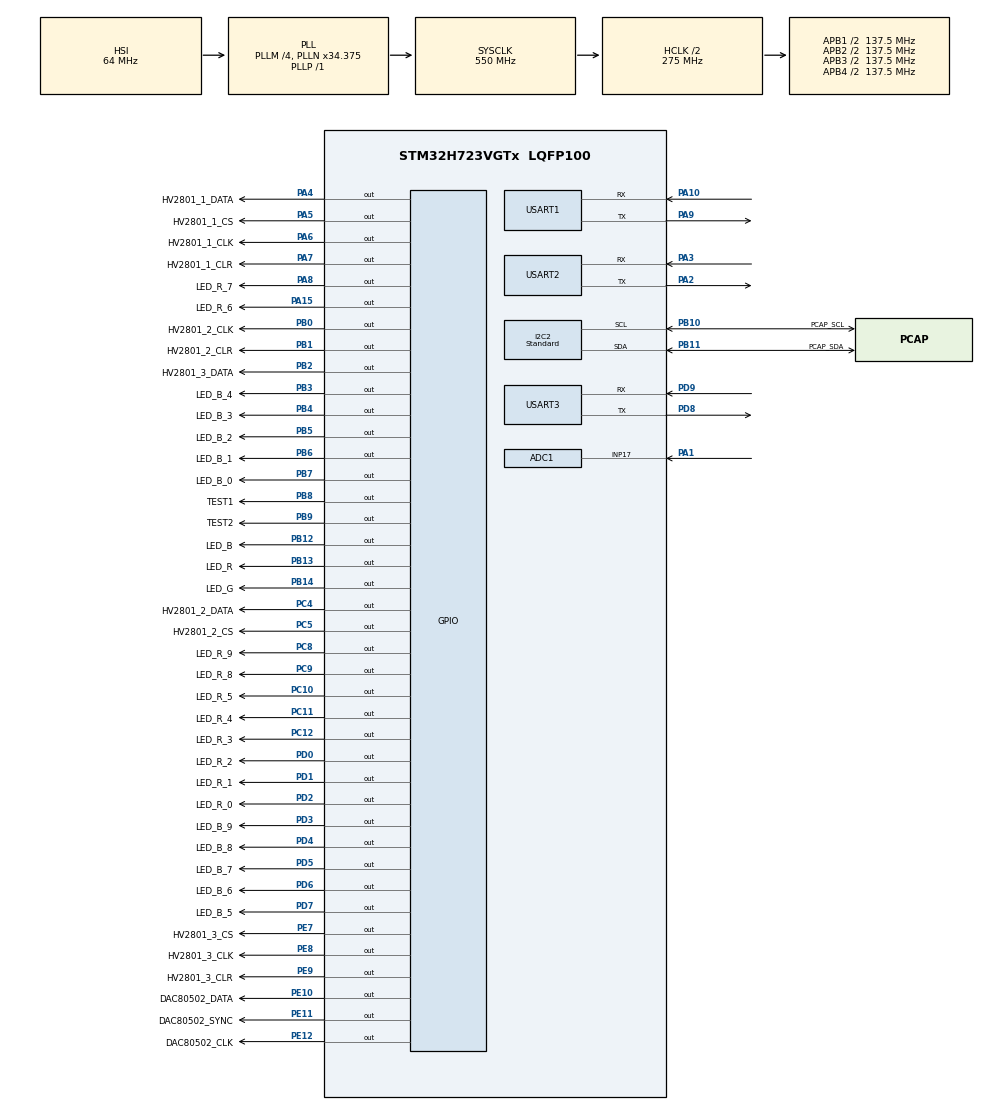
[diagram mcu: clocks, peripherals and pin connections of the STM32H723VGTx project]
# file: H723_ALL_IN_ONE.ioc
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ADC1.Channel-0\#ChannelRegularConversion=ADC_CHANNEL_17
ADC1.ContinuousConvMode=ENABLE
ADC1.ConversionDataManagement=ADC_CONVERSIONDATA_DMA_CIRCULAR
ADC1.NbrOfConversionFlag=1
ADC1.OffsetNumber-0\#ChannelRegularConversion=ADC_OFFSET_NONE
ADC1.OffsetSignedSaturation-0\#ChannelRegularConversion=DISABLE
ADC1.Rank-0\#ChannelRegularConversion=1
ADC1.SamplingTime-0\#ChannelRegularConversion=ADC_SAMPLETIME_64CYCLES_5
ADC1.master=1
CORTEX_M7.AccessPermission_S-Cortex_Memory_Protection_Unit_Region1_Settings_S=MPU_REGION_FULL_ACCESS
CORTEX_M7.BaseAddress_S-Cortex_Memory_Protection_Unit_Region1_Settings_S=0x30000000
CORTEX_M7.CPU_DCache=Enabled
CORTEX_M7.CPU_ICache=Enabled
CORTEX_M7.DisableExec_S-Cortex_Memory_Protection_Unit_Region1_Settings_S=MPU_INSTRUCTION_ACCESS_DISABLE
CORTEX_M7.Enable_S-Cortex_Memory_Protection_Unit_Region1_Settings_S=MPU_REGION_ENABLE
CORTEX_M7.IsBufferable_S-Cortex_Memory_Protection_Unit_Region1_Settings_S=MPU_ACCESS_BUFFERABLE
CORTEX_M7.IsShareable_S-Cortex_Memory_Protection_Unit_Region1_Settings_S=MPU_ACCESS_SHAREABLE
CORTEX_M7.Size_S-Cortex_Memory_Protection_Unit_Region1_Settings_S=MPU_REGION_SIZE_64KB
CORTEX_M7.default_mode_Activation=1
Dma.ADC1.4.Direction=DMA_PERIPH_TO_MEMORY
Dma.ADC1.4.EventEnable=DISABLE
Dma.ADC1.4.FIFOMode=DMA_FIFOMODE_DISABLE
Dma.ADC1.4.Instance=DMA1_Stream4
Dma.ADC1.4.MemDataAlignment=DMA_MDATAALIGN_HALFWORD
Dma.ADC1.4.MemInc=DMA_MINC_ENABLE
Dma.ADC1.4.Mode=DMA_CIRCULAR
Dma.ADC1.4.PeriphDataAlignment=DMA_PDATAALIGN_HALFWORD
Dma.ADC1.4.PeriphInc=DMA_PINC_DISABLE
Dma.ADC1.4.Polarity=HAL_DMAMUX_REQ_GEN_RISING
Dma.ADC1.4.Priority=DMA_PRIORITY_LOW
Dma.ADC1.4.RequestNumber=1
Dma.ADC1.4.SignalID=NONE
Dma.ADC1.4.SyncEnable=DISABLE
Dma.ADC1.4.SyncPolarity=HAL_DMAMUX_SYNC_NO_EVENT
Dma.ADC1.4.SyncRequestNumber=1
Dma.ADC1.4.SyncSignalID=NONE
Dma.I2C2_RX.3.Direction=DMA_PERIPH_TO_MEMORY
Dma.I2C2_RX.3.EventEnable=DISABLE
Dma.I2C2_RX.3.FIFOMode=DMA_FIFOMODE_DISABLE
Dma.I2C2_RX.3.Instance=DMA1_Stream3
Dma.I2C2_RX.3.MemDataAlignment=DMA_MDATAALIGN_BYTE
Dma.I2C2_RX.3.MemInc=DMA_MINC_ENABLE
Dma.I2C2_RX.3.Mode=DMA_NORMAL
Dma.I2C2_RX.3.PeriphDataAlignment=DMA_PDATAALIGN_BYTE
Dma.I2C2_RX.3.PeriphInc=DMA_PINC_DISABLE
Dma.I2C2_RX.3.Polarity=HAL_DMAMUX_REQ_GEN_RISING
Dma.I2C2_RX.3.Priority=DMA_PRIORITY_LOW
Dma.I2C2_RX.3.RequestNumber=1
Dma.I2C2_RX.3.SignalID=NONE
Dma.I2C2_RX.3.SyncEnable=DISABLE
Dma.I2C2_RX.3.SyncPolarity=HAL_DMAMUX_SYNC_NO_EVENT
Dma.I2C2_RX.3.SyncRequestNumber=1
Dma.I2C2_RX.3.SyncSignalID=NONE
Dma.I2C2_TX.2.Direction=DMA_MEMORY_TO_PERIPH
Dma.I2C2_TX.2.EventEnable=DISABLE
Dma.I2C2_TX.2.FIFOMode=DMA_FIFOMODE_DISABLE
Dma.I2C2_TX.2.Instance=DMA1_Stream2
Dma.I2C2_TX.2.MemDataAlignment=DMA_MDATAALIGN_BYTE
Dma.I2C2_TX.2.MemInc=DMA_MINC_ENABLE
Dma.I2C2_TX.2.Mode=DMA_NORMAL
Dma.I2C2_TX.2.PeriphDataAlignment=DMA_PDATAALIGN_BYTE
Dma.I2C2_TX.2.PeriphInc=DMA_PINC_DISABLE
Dma.I2C2_TX.2.Polarity=HAL_DMAMUX_REQ_GEN_RISING
Dma.I2C2_TX.2.Priority=DMA_PRIORITY_LOW
Dma.I2C2_TX.2.RequestNumber=1
Dma.I2C2_TX.2.SignalID=NONE
Dma.I2C2_TX.2.SyncEnable=DISABLE
Dma.I2C2_TX.2.SyncPolarity=HAL_DMAMUX_SYNC_NO_EVENT
Dma.I2C2_TX.2.SyncRequestNumber=1
Dma.I2C2_TX.2.SyncSignalID=NONE
Dma.Request0=USART1_RX
Dma.Request1=USART1_TX
Dma.Request2=I2C2_TX
Dma.Request3=I2C2_RX
Dma.Request4=ADC1
Dma.Request5=USART3_RX
Dma.Request6=USART3_TX
Dma.USART1_RX.0.Direction=DMA_PERIPH_TO_MEMORY
Dma.USART1_RX.0.EventEnable=DISABLE
Dma.USART1_RX.0.FIFOMode=DMA_FIFOMODE_DISABLE
Dma.USART1_RX.0.Instance=DMA1_Stream0
Dma.USART1_RX.0.MemDataAlignment=DMA_MDATAALIGN_BYTE
Dma.USART1_RX.0.MemInc=DMA_MINC_ENABLE
Dma.USART1_RX.0.Mode=DMA_NORMAL
Dma.USART1_RX.0.PeriphDataAlignment=DMA_PDATAALIGN_BYTE
Dma.USART1_RX.0.PeriphInc=DMA_PINC_DISABLE
Dma.USART1_RX.0.Polarity=HAL_DMAMUX_REQ_GEN_RISING
Dma.USART1_RX.0.Priority=DMA_PRIORITY_LOW
Dma.USART1_RX.0.RequestNumber=1
Dma.USART1_RX.0.SignalID=NONE
Dma.USART1_RX.0.SyncEnable=DISABLE
Dma.USART1_RX.0.SyncPolarity=HAL_DMAMUX_SYNC_NO_EVENT
Dma.USART1_RX.0.SyncRequestNumber=1
Dma.USART1_RX.0.SyncSignalID=NONE
Dma.USART1_TX.1.Direction=DMA_MEMORY_TO_PERIPH
Dma.USART1_TX.1.EventEnable=DISABLE
Dma.USART1_TX.1.FIFOMode=DMA_FIFOMODE_DISABLE
Dma.USART1_TX.1.Instance=DMA1_Stream1
Dma.USART1_TX.1.MemDataAlignment=DMA_MDATAALIGN_BYTE
Dma.USART1_TX.1.MemInc=DMA_MINC_ENABLE
Dma.USART1_TX.1.Mode=DMA_NORMAL
Dma.USART1_TX.1.PeriphDataAlignment=DMA_PDATAALIGN_BYTE
Dma.USART1_TX.1.PeriphInc=DMA_PINC_DISABLE
Dma.USART1_TX.1.Polarity=HAL_DMAMUX_REQ_GEN_RISING
Dma.USART1_TX.1.Priority=DMA_PRIORITY_LOW
Dma.USART1_TX.1.RequestNumber=1
Dma.USART1_TX.1.SignalID=NONE
Dma.USART1_TX.1.SyncEnable=DISABLE
Dma.USART1_TX.1.SyncPolarity=HAL_DMAMUX_SYNC_NO_EVENT
Dma.USART1_TX.1.SyncRequestNumber=1
Dma.USART1_TX.1.SyncSignalID=NONE
Dma.USART3_RX.5.Direction=DMA_PERIPH_TO_MEMORY
Dma.USART3_RX.5.EventEnable=DISABLE
Dma.USART3_RX.5.FIFOMode=DMA_FIFOMODE_DISABLE
Dma.USART3_RX.5.Instance=DMA1_Stream5
Dma.USART3_RX.5.MemDataAlignment=DMA_MDATAALIGN_BYTE
Dma.USART3_RX.5.MemInc=DMA_MINC_ENABLE
Dma.USART3_RX.5.Mode=DMA_NORMAL
Dma.USART3_RX.5.PeriphDataAlignment=DMA_PDATAALIGN_BYTE
Dma.USART3_RX.5.PeriphInc=DMA_PINC_DISABLE
Dma.USART3_RX.5.Polarity=HAL_DMAMUX_REQ_GEN_RISING
Dma.USART3_RX.5.Priority=DMA_PRIORITY_HIGH
Dma.USART3_RX.5.RequestNumber=1
Dma.USART3_RX.5.SignalID=NONE
Dma.USART3_RX.5.SyncEnable=DISABLE
Dma.USART3_RX.5.SyncPolarity=HAL_DMAMUX_SYNC_NO_EVENT
Dma.USART3_RX.5.SyncRequestNumber=1
Dma.USART3_RX.5.SyncSignalID=NONE
Dma.USART3_TX.6.Direction=DMA_MEMORY_TO_PERIPH
Dma.USART3_TX.6.EventEnable=DISABLE
Dma.USART3_TX.6.FIFOMode=DMA_FIFOMODE_DISABLE
Dma.USART3_TX.6.Instance=DMA1_Stream6
Dma.USART3_TX.6.MemDataAlignment=DMA_MDATAALIGN_BYTE
Dma.USART3_TX.6.MemInc=DMA_MINC_ENABLE
Dma.USART3_TX.6.Mode=DMA_NORMAL
Dma.USART3_TX.6.PeriphDataAlignment=DMA_PDATAALIGN_BYTE
Dma.USART3_TX.6.PeriphInc=DMA_PINC_DISABLE
Dma.USART3_TX.6.Polarity=HAL_DMAMUX_REQ_GEN_RISING
Dma.USART3_TX.6.Priority=DMA_PRIORITY_LOW
Dma.USART3_TX.6.RequestNumber=1
Dma.USART3_TX.6.SignalID=NONE
Dma.USART3_TX.6.SyncEnable=DISABLE
Dma.USART3_TX.6.SyncPolarity=HAL_DMAMUX_SYNC_NO_EVENT
Dma.USART3_TX.6.SyncRequestNumber=1
Dma.USART3_TX.6.SyncSignalID=NONE
I2C2.I2C_Speed_Mode=I2C_Standard
I2C2.Timing=0x60404E72
Mcu.Family=STM32H7
Mcu.Name=STM32H723VGTx
Mcu.Package=LQFP100
NVIC.DMA1_Stream0_IRQn=true\:0\:0\:false\:false\:true\:false\:true\:true
NVIC.DMA1_Stream1_IRQn=true\:0\:0\:false\:false\:true\:false\:true\:true
NVIC.DMA1_Stream2_IRQn=true\:0\:0\:false\:false\:true\:false\:true\:true
NVIC.DMA1_Stream3_IRQn=true\:0\:0\:false\:false\:true\:false\:true\:true
NVIC.DMA1_Stream4_IRQn=true\:0\:0\:false\:false\:true\:false\:true\:true
NVIC.DMA1_Stream5_IRQn=true\:0\:0\:false\:false\:true\:false\:true\:true
NVIC.DMA1_Stream6_IRQn=true\:0\:0\:false\:false\:true\:false\:true\:true
NVIC.I2C2_ER_IRQn=true\:0\:0\:false\:false\:true\:true\:true\:true
NVIC.I2C2_EV_IRQn=true\:0\:0\:false\:false\:true\:true\:true\:true
NVIC.PriorityGroup=NVIC_PRIORITYGROUP_4
NVIC.TIM7_IRQn=true\:0\:0\:false\:false\:true\:true\:true\:true
NVIC.USART1_IRQn=true\:0\:0\:false\:false\:true\:false\:true\:true
NVIC.USART3_IRQn=true\:0\:0\:false\:false\:true\:true\:true\:true
PA1.Mode=IN17-Single-Ended
PA1.Signal=ADC1_INP17
PA10.Mode=Asynchronous
PA10.Signal=USART1_RX
PA13(JTMS/SWDIO).Mode=Serial_Wire
PA13(JTMS/SWDIO).Signal=DEBUG_JTMS-SWDIO
PA14(JTCK/SWCLK).Mode=Serial_Wire
PA14(JTCK/SWCLK).Signal=DEBUG_JTCK-SWCLK
PA15(JTDI).GPIO_Label=LED_R_6
PA15(JTDI).GPIO_ModeDefaultOutputPP=GPIO_MODE_OUTPUT_PP
PA15(JTDI).GPIO_PuPd=GPIO_NOPULL
PA15(JTDI).GPIO_Speed=GPIO_SPEED_FREQ_LOW
PA15(JTDI).PinState=GPIO_PIN_SET
PA15(JTDI).Signal=GPIO_Output
PA2.Mode=Asynchronous
PA2.Signal=USART2_TX
PA3.Mode=Asynchronous
PA3.Signal=USART2_RX
PA4.GPIO_Label=HV2801_1_DATA
PA4.GPIO_ModeDefaultOutputPP=GPIO_MODE_OUTPUT_PP
PA4.GPIO_PuPd=GPIO_NOPULL
PA4.GPIO_Speed=GPIO_SPEED_FREQ_VERY_HIGH
PA4.PinState=GPIO_PIN_RESET
PA4.Signal=GPIO_Output
PA5.GPIO_Label=HV2801_1_CS
PA5.GPIO_ModeDefaultOutputPP=GPIO_MODE_OUTPUT_PP
PA5.GPIO_PuPd=GPIO_NOPULL
PA5.GPIO_Speed=GPIO_SPEED_FREQ_VERY_HIGH
PA5.PinState=GPIO_PIN_SET
PA5.Signal=GPIO_Output
PA6.GPIO_Label=HV2801_1_CLK
PA6.GPIO_ModeDefaultOutputPP=GPIO_MODE_OUTPUT_PP
PA6.GPIO_PuPd=GPIO_NOPULL
PA6.GPIO_Speed=GPIO_SPEED_FREQ_VERY_HIGH
PA6.PinState=GPIO_PIN_RESET
PA6.Signal=GPIO_Output
PA7.GPIO_Label=HV2801_1_CLR
PA7.GPIO_ModeDefaultOutputPP=GPIO_MODE_OUTPUT_PP
PA7.GPIO_PuPd=GPIO_NOPULL
PA7.GPIO_Speed=GPIO_SPEED_FREQ_VERY_HIGH
PA7.PinState=GPIO_PIN_SET
PA7.Signal=GPIO_Output
PA8.GPIO_Label=LED_R_7
PA8.GPIO_ModeDefaultOutputPP=GPIO_MODE_OUTPUT_PP
PA8.GPIO_PuPd=GPIO_NOPULL
PA8.GPIO_Speed=GPIO_SPEED_FREQ_LOW
PA8.PinState=GPIO_PIN_SET
PA8.Signal=GPIO_Output
PA9.Mode=Asynchronous
PA9.Signal=USART1_TX
PB0.GPIO_Label=HV2801_2_CLK
PB0.GPIO_ModeDefaultOutputPP=GPIO_MODE_OUTPUT_PP
PB0.GPIO_PuPd=GPIO_NOPULL
PB0.GPIO_Speed=GPIO_SPEED_FREQ_VERY_HIGH
PB0.PinState=GPIO_PIN_RESET
PB0.Signal=GPIO_Output
PB1.GPIO_Label=HV2801_2_CLR
PB1.GPIO_ModeDefaultOutputPP=GPIO_MODE_OUTPUT_PP
PB1.GPIO_PuPd=GPIO_NOPULL
PB1.GPIO_Speed=GPIO_SPEED_FREQ_VERY_HIGH
PB1.PinState=GPIO_PIN_SET
PB1.Signal=GPIO_Output
PB10.GPIO_Label=PCAP_SCL
PB10.GPIO_Mode=GPIO_MODE_AF_OD
PB10.GPIO_Pu=GPIO_NOPULL
PB10.GPIO_Speed=GPIO_SPEED_FREQ_VERY_HIGH
PB10.Mode=I2C
PB10.Signal=I2C2_SCL
PB11.GPIO_Label=PCAP_SDA
PB11.GPIO_Mode=GPIO_MODE_AF_OD
PB11.GPIO_Pu=GPIO_NOPULL
PB11.GPIO_Speed=GPIO_SPEED_FREQ_VERY_HIGH
PB11.Mode=I2C
PB11.Signal=I2C2_SDA
PB12.GPIO_Label=LED_B
PB12.GPIO_ModeDefaultOutputPP=GPIO_MODE_OUTPUT_PP
PB12.GPIO_PuPd=GPIO_NOPULL
PB12.GPIO_Speed=GPIO_SPEED_FREQ_LOW
PB12.PinState=GPIO_PIN_SET
PB12.Signal=GPIO_Output
PB13.GPIO_Label=LED_R
PB13.GPIO_ModeDefaultOutputPP=GPIO_MODE_OUTPUT_PP
PB13.GPIO_PuPd=GPIO_NOPULL
PB13.GPIO_Speed=GPIO_SPEED_FREQ_LOW
PB13.PinState=GPIO_PIN_SET
PB13.Signal=GPIO_Output
PB14.GPIO_Label=LED_G
PB14.GPIO_ModeDefaultOutputPP=GPIO_MODE_OUTPUT_PP
PB14.GPIO_PuPd=GPIO_NOPULL
PB14.GPIO_Speed=GPIO_SPEED_FREQ_LOW
PB14.PinState=GPIO_PIN_SET
PB14.Signal=GPIO_Output
PB2.GPIO_Label=HV2801_3_DATA
PB2.GPIO_ModeDefaultOutputPP=GPIO_MODE_OUTPUT_PP
PB2.GPIO_PuPd=GPIO_NOPULL
PB2.GPIO_Speed=GPIO_SPEED_FREQ_VERY_HIGH
PB2.PinState=GPIO_PIN_RESET
PB2.Signal=GPIO_Output
PB3(JTDO/TRACESWO).GPIO_Label=LED_B_4
PB3(JTDO/TRACESWO).GPIO_ModeDefaultOutputPP=GPIO_MODE_OUTPUT_PP
PB3(JTDO/TRACESWO).GPIO_PuPd=GPIO_NOPULL
PB3(JTDO/TRACESWO).GPIO_Speed=GPIO_SPEED_FREQ_LOW
PB3(JTDO/TRACESWO).PinState=GPIO_PIN_SET
PB3(JTDO/TRACESWO).Signal=GPIO_Output
PB4(NJTRST).GPIO_Label=LED_B_3
PB4(NJTRST).GPIO_ModeDefaultOutputPP=GPIO_MODE_OUTPUT_PP
PB4(NJTRST).GPIO_PuPd=GPIO_NOPULL
PB4(NJTRST).GPIO_Speed=GPIO_SPEED_FREQ_LOW
PB4(NJTRST).PinState=GPIO_PIN_SET
PB4(NJTRST).Signal=GPIO_Output
PB5.GPIO_Label=LED_B_2
PB5.GPIO_ModeDefaultOutputPP=GPIO_MODE_OUTPUT_PP
PB5.GPIO_PuPd=GPIO_NOPULL
PB5.GPIO_Speed=GPIO_SPEED_FREQ_LOW
PB5.PinState=GPIO_PIN_SET
PB5.Signal=GPIO_Output
PB6.GPIO_Label=LED_B_1
PB6.GPIO_ModeDefaultOutputPP=GPIO_MODE_OUTPUT_PP
PB6.GPIO_PuPd=GPIO_NOPULL
PB6.GPIO_Speed=GPIO_SPEED_FREQ_LOW
PB6.PinState=GPIO_PIN_SET
PB6.Signal=GPIO_Output
PB7.GPIO_Label=LED_B_0
PB7.GPIO_ModeDefaultOutputPP=GPIO_MODE_OUTPUT_PP
PB7.GPIO_PuPd=GPIO_NOPULL
PB7.GPIO_Speed=GPIO_SPEED_FREQ_LOW
PB7.PinState=GPIO_PIN_SET
PB7.Signal=GPIO_Output
PB8.GPIO_Label=TEST1
PB8.Signal=GPIO_Output
PB9.GPIO_Label=TEST2
PB9.Signal=GPIO_Output
PC10.GPIO_Label=LED_R_5
PC10.GPIO_ModeDefaultOutputPP=GPIO_MODE_OUTPUT_PP
PC10.GPIO_PuPd=GPIO_NOPULL
PC10.GPIO_Speed=GPIO_SPEED_FREQ_LOW
PC10.PinState=GPIO_PIN_SET
PC10.Signal=GPIO_Output
PC11.GPIO_Label=LED_R_4
PC11.GPIO_ModeDefaultOutputPP=GPIO_MODE_OUTPUT_PP
PC11.GPIO_PuPd=GPIO_NOPULL
PC11.GPIO_Speed=GPIO_SPEED_FREQ_LOW
PC11.PinState=GPIO_PIN_SET
PC11.Signal=GPIO_Output
PC12.GPIO_Label=LED_R_3
PC12.GPIO_ModeDefaultOutputPP=GPIO_MODE_OUTPUT_PP
PC12.GPIO_PuPd=GPIO_NOPULL
PC12.GPIO_Speed=GPIO_SPEED_FREQ_LOW
PC12.PinState=GPIO_PIN_SET
PC12.Signal=GPIO_Output
PC4.GPIO_Label=HV2801_2_DATA
PC4.GPIO_ModeDefaultOutputPP=GPIO_MODE_OUTPUT_PP
PC4.GPIO_PuPd=GPIO_NOPULL
PC4.GPIO_Speed=GPIO_SPEED_FREQ_VERY_HIGH
PC4.PinState=GPIO_PIN_RESET
PC4.Signal=GPIO_Output
PC5.GPIO_Label=HV2801_2_CS
PC5.GPIO_ModeDefaultOutputPP=GPIO_MODE_OUTPUT_PP
PC5.GPIO_PuPd=GPIO_NOPULL
PC5.GPIO_Speed=GPIO_SPEED_FREQ_VERY_HIGH
PC5.PinState=GPIO_PIN_SET
PC5.Signal=GPIO_Output
PC8.GPIO_Label=LED_R_9
PC8.GPIO_ModeDefaultOutputPP=GPIO_MODE_OUTPUT_PP
PC8.GPIO_PuPd=GPIO_NOPULL
PC8.GPIO_Speed=GPIO_SPEED_FREQ_LOW
PC8.PinState=GPIO_PIN_SET
PC8.Signal=GPIO_Output
PC9.GPIO_Label=LED_R_8
PC9.GPIO_ModeDefaultOutputPP=GPIO_MODE_OUTPUT_PP
PC9.GPIO_PuPd=GPIO_NOPULL
PC9.GPIO_Speed=GPIO_SPEED_FREQ_LOW
PC9.PinState=GPIO_PIN_SET
PC9.Signal=GPIO_Output
PD0.GPIO_Label=LED_R_2
PD0.GPIO_ModeDefaultOutputPP=GPIO_MODE_OUTPUT_PP
PD0.GPIO_PuPd=GPIO_NOPULL
PD0.GPIO_Speed=GPIO_SPEED_FREQ_LOW
PD0.PinState=GPIO_PIN_SET
PD0.Signal=GPIO_Output
PD1.GPIO_Label=LED_R_1
PD1.GPIO_ModeDefaultOutputPP=GPIO_MODE_OUTPUT_PP
PD1.GPIO_PuPd=GPIO_NOPULL
PD1.GPIO_Speed=GPIO_SPEED_FREQ_LOW
PD1.PinState=GPIO_PIN_SET
PD1.Signal=GPIO_Output
PD2.GPIO_Label=LED_R_0
PD2.GPIO_ModeDefaultOutputPP=GPIO_MODE_OUTPUT_PP
PD2.GPIO_PuPd=GPIO_NOPULL
PD2.GPIO_Speed=GPIO_SPEED_FREQ_LOW
PD2.PinState=GPIO_PIN_SET
PD2.Signal=GPIO_Output
PD3.GPIO_Label=LED_B_9
PD3.GPIO_ModeDefaultOutputPP=GPIO_MODE_OUTPUT_PP
PD3.GPIO_PuPd=GPIO_NOPULL
PD3.GPIO_Speed=GPIO_SPEED_FREQ_LOW
PD3.PinState=GPIO_PIN_SET
PD3.Signal=GPIO_Output
PD4.GPIO_Label=LED_B_8
PD4.GPIO_ModeDefaultOutputPP=GPIO_MODE_OUTPUT_PP
PD4.GPIO_PuPd=GPIO_NOPULL
PD4.GPIO_Speed=GPIO_SPEED_FREQ_LOW
PD4.PinState=GPIO_PIN_SET
PD4.Signal=GPIO_Output
PD5.GPIO_Label=LED_B_7
PD5.GPIO_ModeDefaultOutputPP=GPIO_MODE_OUTPUT_PP
PD5.GPIO_PuPd=GPIO_NOPULL
PD5.GPIO_Speed=GPIO_SPEED_FREQ_LOW
PD5.PinState=GPIO_PIN_SET
PD5.Signal=GPIO_Output
PD6.GPIO_Label=LED_B_6
PD6.GPIO_ModeDefaultOutputPP=GPIO_MODE_OUTPUT_PP
PD6.GPIO_PuPd=GPIO_NOPULL
PD6.GPIO_Speed=GPIO_SPEED_FREQ_LOW
PD6.PinState=GPIO_PIN_SET
PD6.Signal=GPIO_Output
PD7.GPIO_Label=LED_B_5
PD7.GPIO_ModeDefaultOutputPP=GPIO_MODE_OUTPUT_PP
PD7.GPIO_PuPd=GPIO_NOPULL
PD7.GPIO_Speed=GPIO_SPEED_FREQ_LOW
PD7.PinState=GPIO_PIN_SET
PD7.Signal=GPIO_Output
PD8.Mode=Asynchronous
PD8.Signal=USART3_TX
PD9.Mode=Asynchronous
PD9.Signal=USART3_RX
PE10.GPIO_Label=DAC80502_DATA
PE10.GPIO_ModeDefaultOutputPP=GPIO_MODE_OUTPUT_PP
PE10.GPIO_PuPd=GPIO_NOPULL
PE10.GPIO_Speed=GPIO_SPEED_FREQ_VERY_HIGH
PE10.PinState=GPIO_PIN_SET
PE10.Signal=GPIO_Output
PE11.GPIO_Label=DAC80502_SYNC
PE11.GPIO_ModeDefaultOutputPP=GPIO_MODE_OUTPUT_PP
PE11.GPIO_PuPd=GPIO_NOPULL
PE11.GPIO_Speed=GPIO_SPEED_FREQ_VERY_HIGH
PE11.PinState=GPIO_PIN_SET
PE11.Signal=GPIO_Output
PE12.GPIO_Label=DAC80502_CLK
PE12.GPIO_ModeDefaultOutputPP=GPIO_MODE_OUTPUT_PP
PE12.GPIO_PuPd=GPIO_NOPULL
PE12.GPIO_Speed=GPIO_SPEED_FREQ_VERY_HIGH
PE12.PinState=GPIO_PIN_SET
PE12.Signal=GPIO_Output
PE7.GPIO_Label=HV2801_3_CS
PE7.GPIO_ModeDefaultOutputPP=GPIO_MODE_OUTPUT_PP
PE7.GPIO_PuPd=GPIO_NOPULL
PE7.GPIO_Speed=GPIO_SPEED_FREQ_VERY_HIGH
PE7.PinState=GPIO_PIN_SET
PE7.Signal=GPIO_Output
PE8.GPIO_Label=HV2801_3_CLK
PE8.GPIO_ModeDefaultOutputPP=GPIO_MODE_OUTPUT_PP
PE8.GPIO_PuPd=GPIO_NOPULL
PE8.GPIO_Speed=GPIO_SPEED_FREQ_VERY_HIGH
PE8.PinState=GPIO_PIN_RESET
PE8.Signal=GPIO_Output
PE9.GPIO_Label=HV2801_3_CLR
PE9.GPIO_ModeDefaultOutputPP=GPIO_MODE_OUTPUT_PP
PE9.GPIO_PuPd=GPIO_NOPULL
PE9.GPIO_Speed=GPIO_SPEED_FREQ_VERY_HIGH
PE9.PinState=GPIO_PIN_SET
PE9.Signal=GPIO_Output
PH0-OSC_IN.Mode=HSE-External-Oscillator
PH0-OSC_IN.Signal=RCC_OSC_IN
PH1-OSC_OUT.Mode=HSE-External-Oscillator
PH1-OSC_OUT.Signal=RCC_OSC_OUT
ProjectManager.HeapSize=0x200
ProjectManager.StackSize=0x400
ProjectManager.TargetToolchain=MDK-ARM V5.32
RCC.ADCFreq_Value=129000000
RCC.APB1Freq_Value=137500000
RCC.APB2Freq_Value=137500000
RCC.APB3Freq_Value=137500000
RCC.APB4Freq_Value=137500000
RCC.CortexFreq_Value=550000000
RCC.D1PPRE=RCC_APB3_DIV2
RCC.D2PPRE1=RCC_APB1_DIV2
RCC.D2PPRE2=RCC_APB2_DIV2
RCC.D3PPRE=RCC_APB4_DIV2
RCC.DIVM1=4
RCC.DIVN1=34
RCC.DIVP1=1
RCC.HCLKFreq_Value=275000000
RCC.HPRE=RCC_HCLK_DIV2
RCC.PLL2FRACN=0
RCC.PLL3FRACN=0
RCC.PLLFRACN=3072
RCC.SYSCLKFreq_VALUE=550000000
RCC.SYSCLKSource=RCC_SYSCLKSOURCE_PLLCLK
RCC.USBFreq_Value=275000000
TIM7.Period=999
TIM7.Prescaler=549
USART1.VirtualMode-Asynchronous=VM_ASYNC
USART2.VirtualMode-Asynchronous=VM_ASYNC
USART3.VirtualMode-Asynchronous=VM_ASYNC
VP_IWDG1_VS_IWDG.Mode=IWDG_Activate
VP_MEMORYMAP_VS_MEMORYMAP.Mode=CurAppReg
VP_TIM7_VS_ClockSourceINT.Mode=Enable_Timer
board=custom

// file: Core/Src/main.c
/* USER CODE BEGIN Header */
/**
 ******************************************************************************
 * @file           : main.c
 * @brief          : Main program body
 ******************************************************************************
 * @attention
 *
 * Copyright (c) 2025 STMicroelectronics.
 * All rights reserved.
 *
 * This software is licensed under terms that can be found in the LICENSE file
 * in the root directory of this software component.
 * If no LICENSE file comes with this software, it is provided AS-IS.
 *
 ******************************************************************************
 */
/* USER CODE END Header */
#include "main.h"
#include "adc.h"
#include "dma.h"
#include "i2c.h"
#include "iwdg.h"
#include "tim.h"
#include "usart.h"
#include "gpio.h"

/* USER CODE BEGIN Includes */
#include "user_comm.h"
/* USER CODE END Includes */

void SystemClock_Config(void);
static void MPU_Config(void);

/* USER CODE BEGIN 0 */
volatile uint8_t tim7_is_up = 0;
/* USER CODE END 0 */

int main(void)
{

    /* MPU Configuration--------------------------------------------------------*/
    MPU_Config();

    /* Enable the CPU Cache */

    /* Enable I-Cache---------------------------------------------------------*/
    SCB_EnableICache();

    /* Enable D-Cache---------------------------------------------------------*/
    SCB_EnableDCache();

    /* MCU Configuration--------------------------------------------------------*/

    /* Reset of all peripherals, Initializes the Flash interface and the Systick. */
    HAL_Init();

    /* Configure the system clock */
    SystemClock_Config();

    /* Initialize all configured peripherals */
    MX_GPIO_Init();
    MX_DMA_Init();
    MX_USART1_UART_Init();
    MX_I2C2_Init();
    MX_ADC1_Init();
    MX_USART2_UART_Init();
    MX_USART3_UART_Init();
    MX_IWDG1_Init();
    MX_TIM7_Init();
    /* USER CODE BEGIN 2 */

    delay_init();

    delay_ms(300);

    init_dac80502();

    // 打开tim7
    HAL_TIM_Base_Start_IT(&htim7);

    // set_DAC80502_output_test();
    // start adc
    HAL_ADC_Start_DMA(&hadc1, (uint32_t *)adc_buf, ADC_BUF_LEN);

#if TX_SIDE

    // 初始化pcap
    pcap_init();

#endif

    // 初始化hv2801
    init_hv();

    start_uart3_rx();
    start_uart2_rx();

    // 最后一步了, 打开高压开关
    start_hv2801_output();

    /* USER CODE END 2 */

    /* Infinite loop */
    /* USER CODE BEGIN WHILE */

    while (1)
    {

        // 喂狗
        HAL_IWDG_Refresh(&hiwdg1);

        // 执行adc任务, 控制灯
        adc_task();

        // 强度任务
        sens_led_task();

        // 闪工作灯
        working_led_task();

        // 最大值灯
        max_cap_led_task();

        //LED测试
        //LED_Test();

#if TX_SIDE

        main_cap_task();

        // tx_cmd_task();

        tx_task();

#endif

#if RX_SIDE

        rx_task();

        tazer_matrix_scan_task();

#endif

        // tazer_test_task();

        /* USER CODE END WHILE */

    }
}

void SystemClock_Config(void)
{
    RCC_OscInitTypeDef RCC_OscInitStruct = {0};
    RCC_ClkInitTypeDef RCC_ClkInitStruct = {0};

    /** Supply configuration update enable
     */
    HAL_PWREx_ConfigSupply(PWR_LDO_SUPPLY);

    /** Configure the main internal regulator output voltage
     */
    __HAL_PWR_VOLTAGESCALING_CONFIG(PWR_REGULATOR_VOLTAGE_SCALE0);

    while (!__HAL_PWR_GET_FLAG(PWR_FLAG_VOSRDY))
    {
    }

    /** Initializes the RCC Oscillators according to the specified parameters
     * in the RCC_OscInitTypeDef structure.
     */
    RCC_OscInitStruct.OscillatorType = RCC_OSCILLATORTYPE_HSI | RCC_OSCILLATORTYPE_LSI;
    RCC_OscInitStruct.HSIState = RCC_HSI_DIV1;
    RCC_OscInitStruct.HSICalibrationValue = 64;
    RCC_OscInitStruct.LSIState = RCC_LSI_ON;
    RCC_OscInitStruct.PLL.PLLState = RCC_PLL_ON;
    RCC_OscInitStruct.PLL.PLLSource = RCC_PLLSOURCE_HSI;
    RCC_OscInitStruct.PLL.PLLM = 4;
    RCC_OscInitStruct.PLL.PLLN = 34;
    RCC_OscInitStruct.PLL.PLLP = 1;
    RCC_OscInitStruct.PLL.PLLQ = 2;
    RCC_OscInitStruct.PLL.PLLR = 2;
    RCC_OscInitStruct.PLL.PLLRGE = RCC_PLL1VCIRANGE_3;
    RCC_OscInitStruct.PLL.PLLVCOSEL = RCC_PLL1VCOWIDE;
    RCC_OscInitStruct.PLL.PLLFRACN = 3072;
    if (HAL_RCC_OscConfig(&RCC_OscInitStruct) != HAL_OK)
    {
        Error_Handler();
    }

    /** Initializes the CPU, AHB and APB buses clocks
     */
    RCC_ClkInitStruct.ClockType = RCC_CLOCKTYPE_HCLK | RCC_CLOCKTYPE_SYSCLK | RCC_CLOCKTYPE_PCLK1 | RCC_CLOCKTYPE_PCLK2 | RCC_CLOCKTYPE_D3PCLK1 | RCC_CLOCKTYPE_D1PCLK1;
    RCC_ClkInitStruct.SYSCLKSource = RCC_SYSCLKSOURCE_PLLCLK;
    RCC_ClkInitStruct.SYSCLKDivider = RCC_SYSCLK_DIV1;
    RCC_ClkInitStruct.AHBCLKDivider = RCC_HCLK_DIV2;
    RCC_ClkInitStruct.APB3CLKDivider = RCC_APB3_DIV2;
    RCC_ClkInitStruct.APB1CLKDivider = RCC_APB1_DIV2;
    RCC_ClkInitStruct.APB2CLKDivider = RCC_APB2_DIV2;
    RCC_ClkInitStruct.APB4CLKDivider = RCC_APB4_DIV2;

    if (HAL_RCC_ClockConfig(&RCC_ClkInitStruct, FLASH_LATENCY_3) != HAL_OK)
    {
        Error_Handler();
    }
}

/* USER CODE BEGIN 4 */

// tim7中断回调
void HAL_TIM_PeriodElapsedCallback(TIM_HandleTypeDef *htim)
{
    if (htim->Instance == TIM7)
    {
        tim7_is_up = 1;
    }
}

/* USER CODE END 4 */

/* MPU Configuration */

void MPU_Config(void)
{
    MPU_Region_InitTypeDef MPU_InitStruct = {0};

    /* Disables the MPU */
    HAL_MPU_Disable();

    /** Initializes and configures the Region and the memory to be protected
     */
    MPU_InitStruct.Enable = MPU_REGION_ENABLE;
    MPU_InitStruct.Number = MPU_REGION_NUMBER0;
    MPU_InitStruct.BaseAddress = 0x0;
    MPU_InitStruct.Size = MPU_REGION_SIZE_4GB;
    MPU_InitStruct.SubRegionDisable = 0x87;
    MPU_InitStruct.TypeExtField = MPU_TEX_LEVEL0;
    MPU_InitStruct.AccessPermission = MPU_REGION_NO_ACCESS;
    MPU_InitStruct.DisableExec = MPU_INSTRUCTION_ACCESS_DISABLE;
    MPU_InitStruct.IsShareable = MPU_ACCESS_SHAREABLE;
    MPU_InitStruct.IsCacheable = MPU_ACCESS_NOT_CACHEABLE;
    MPU_InitStruct.IsBufferable = MPU_ACCESS_NOT_BUFFERABLE;

    HAL_MPU_ConfigRegion(&MPU_InitStruct);

    /** Initializes and configures the Region and the memory to be protected
     */
    MPU_InitStruct.Number = MPU_REGION_NUMBER1;
    MPU_InitStruct.BaseAddress = 0x30000000;
    MPU_InitStruct.Size = MPU_REGION_SIZE_64KB;
    MPU_InitStruct.SubRegionDisable = 0x0;
    MPU_InitStruct.AccessPermission = MPU_REGION_FULL_ACCESS;
    MPU_InitStruct.IsBufferable = MPU_ACCESS_BUFFERABLE;

    HAL_MPU_ConfigRegion(&MPU_InitStruct);
    /* Enables the MPU */
    HAL_MPU_Enable(MPU_PRIVILEGED_DEFAULT);
}

void Error_Handler(void)
{
    __disable_irq();
    while (1)
    {
    }
}
